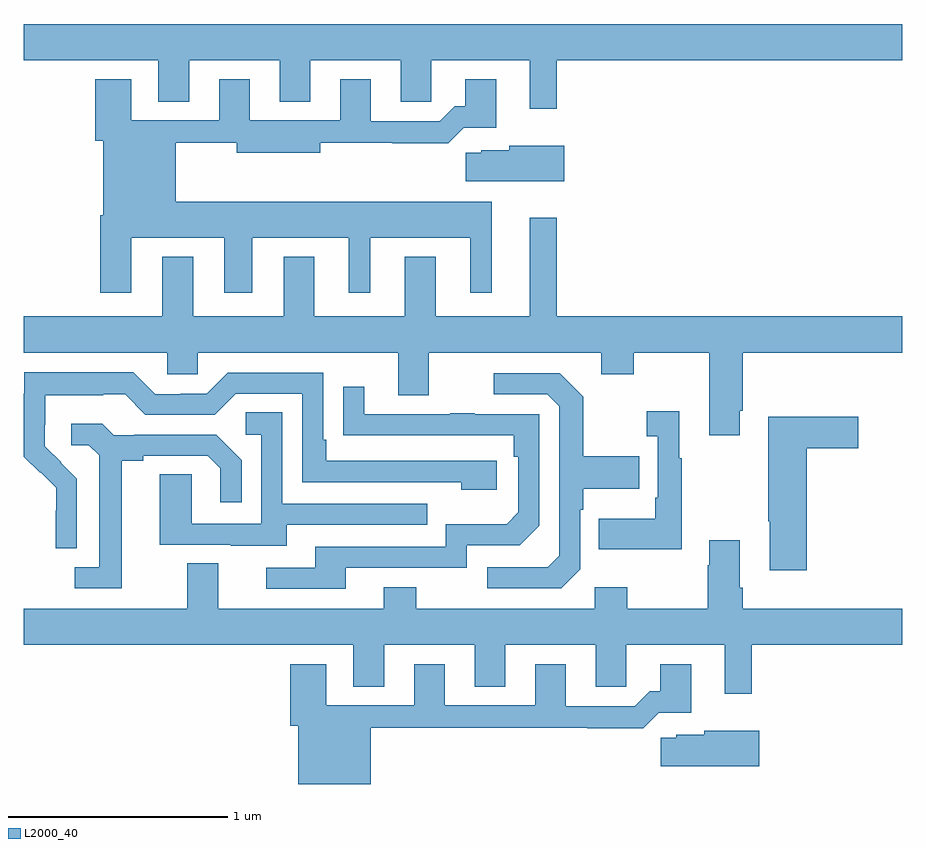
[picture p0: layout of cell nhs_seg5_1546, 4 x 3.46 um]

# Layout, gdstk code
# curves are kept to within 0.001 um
import gdstk
lib = gdstk.Library(unit=1e-6, precision=1e-09)
def P(c, l, *ps):  # polygons
    for p in ps: c.add(gdstk.Polygon(p, *l))
L2000_40 = (2000, 40)

nhs_seg5_1546 = lib.new_cell('nhs_seg5_1546')
P(nhs_seg5_1546, L2000_40, [(207.427,854.096),(209,854.096),(209,854.26),(205,854.26),(205,854.096),(205.613,854.096),(205.613,853.906),(205.753,853.906),(205.753,854.096),(206.165,854.096),(206.165,853.907),(206.305,853.907),(206.305,854.096),(206.717,854.096),(206.717,853.906),(206.856,853.906),(206.856,854.096),(207.305,854.096),(207.305,853.875),(207.427,853.875)],
  [(205.489,853.286),(205.913,853.286),(205.913,853.035),(206.041,853.035),(206.041,853.286),(206.48,853.286),(206.48,853.035),(206.578,853.035),(206.578,853.286),(207.032,853.286),(207.032,853.035),(207.13,853.035),(207.13,853.45),(205.693,853.45),(205.693,853.72),(205.97,853.72),(205.97,853.673),(206.35,853.673),(206.35,853.72),(206.677,853.72),(206.677,853.718),(206.933,853.718),(207.003,853.788),(207.151,853.788),(207.151,854.008),(207.011,854.008),(207.011,853.885),(206.962,853.885),(206.895,853.818),(206.581,853.818),(206.581,854.008),(206.441,854.008),(206.441,853.821),(206.029,853.822),(206.029,854.008),(205.889,854.008),(205.889,853.821),(205.489,853.821),(205.489,854.008),(205.325,854.008),(205.325,853.728),(205.361,853.728),(205.361,853.39),(205.349,853.39),(205.349,853.035),(205.489,853.035)],
  [(207.46,853.705),(207.21,853.705),(207.21,853.684),(207.084,853.684),(207.084,853.673),(207.012,853.673),(207.012,853.544),(207.46,853.544)],
  [(208.261,852.499),(208.274,852.499),(208.274,852.764),(209,852.764),(209,852.928),(207.427,852.928),(207.427,853.378),(207.305,853.378),(207.305,852.928),(206.875,852.928),(206.875,853.201),(206.735,853.201),(206.735,852.928),(206.323,852.928),(206.323,853.201),(206.183,853.201),(206.183,852.928),(205.771,852.928),(205.771,853.201),(205.631,853.201),(205.631,852.928),(205,852.928),(205,852.764),(205.653,852.764),(205.653,852.666),(205.791,852.666),(205.791,852.764),(206.705,852.764),(206.705,852.57),(206.845,852.57),(206.845,852.764),(207.629,852.764),(207.629,852.665),(207.777,852.665),(207.777,852.764),(208.121,852.764),(208.121,852.387),(208.261,852.387)],
  [(205.242,852.19),(205.096,852.338),(205.096,852.435),(205.098,852.435),(205.098,852.569),(205.361,852.569),(205.361,852.573),(205.461,852.573),(205.554,852.48),(205.869,852.48),(205.965,852.576),(206.268,852.576),(206.268,852.174),(206.993,852.174),(206.993,852.14),(207.154,852.14),(207.154,852.27),(206.377,852.27),(206.377,852.367),(206.364,852.367),(206.364,852.672),(205.929,852.672),(205.833,852.576),(205.715,852.576),(205.715,852.573),(205.599,852.573),(205.499,852.673),(205.002,852.673),(205.002,852.576),(205,852.576),(205,852.29),(205.074,852.216),(205.077,852.219),(205.148,852.149),(205.148,852.044),(205.145,852.044),(205.145,851.872),(205.242,851.872)],
  [(207.534,851.778),(207.534,852.047),(207.547,852.047),(207.547,852.143),(207.803,852.143),(207.803,852.291),(207.547,852.291),(207.547,852.563),(207.441,852.669),(207.141,852.669),(207.141,852.573),(207.384,852.573),(207.438,852.519),(207.438,851.838),(207.387,851.787),(207.111,851.787),(207.111,851.691),(207.447,851.691)],
  [(206.467,851.784),(207.018,851.784),(207.018,851.886),(207.258,851.886),(207.348,851.976),(207.348,852.483),(207.053,852.483),(207.053,852.488),(206.941,852.488),(206.941,852.483),(206.551,852.483),(206.551,852.607),(206.455,852.607),(206.455,852.388),(207.232,852.387),(207.232,852.29),(207.252,852.29),(207.252,852.036),(207.199,851.983),(206.922,851.983),(206.922,851.88),(206.327,851.88),(206.327,851.784),(206.103,851.784),(206.103,851.688),(206.467,851.688)],
  [(207.997,852.283),(207.985,852.283),(207.985,852.496),(207.837,852.496),(207.837,852.383),(207.888,852.383),(207.888,852.103),(207.876,852.103),(207.876,852.007),(207.619,852.007),(207.619,851.867),(207.997,851.867)],
  [(206.197,851.979),(206.837,851.979),(206.837,852.075),(206.178,852.075),(206.178,852.491),(206.01,852.491),(206.01,852.39),(206.082,852.39),(206.082,851.985),(205.764,851.985),(205.764,852.209),(205.619,852.209),(205.619,851.889),(205.943,851.889),(205.943,851.885),(206.197,851.885)],
  [(208.565,852.329),(208.801,852.329),(208.801,852.471),(208.39,852.471),(208.39,851.995),(208.397,851.995),(208.397,851.772),(208.565,851.772)],
  [(205.447,852.272),(205.543,852.272),(205.543,852.294),(205.838,852.294),(205.895,852.237),(205.895,852.081),(205.992,852.081),(205.992,852.274),(205.876,852.39),(205.504,852.39),(205.504,852.387),(205.41,852.387),(205.358,852.439),(205.215,852.439),(205.215,852.342),(205.296,852.342),(205.343,852.295),(205.343,851.787),(205.233,851.787),(205.233,851.691),(205.447,851.691)],
  [(208.315,851.432),(209,851.432),(209,851.596),(208.274,851.596),(208.274,851.692),(208.261,851.692),(208.261,851.908),(208.121,851.908),(208.121,851.795),(208.114,851.795),(208.114,851.596),(207.747,851.596),(207.747,851.695),(207.6,851.695),(207.6,851.596),(206.787,851.596),(206.787,851.695),(206.639,851.695),(206.639,851.596),(205.885,851.596),(205.885,851.804),(205.745,851.804),(205.745,851.596),(205,851.596),(205,851.432),(206.501,851.432),(206.501,851.242),(206.641,851.242),(206.641,851.432),(207.053,851.432),(207.053,851.242),(207.193,851.242),(207.193,851.432),(207.605,851.432),(207.605,851.242),(207.744,851.242),(207.744,851.432),(208.193,851.432),(208.193,851.211),(208.315,851.211)],
  [(206.581,851.056),(207.565,851.056),(207.565,851.054),(207.821,851.054),(207.891,851.124),(208.039,851.124),(208.039,851.344),(207.899,851.344),(207.899,851.221),(207.85,851.221),(207.783,851.154),(207.469,851.154),(207.469,851.344),(207.329,851.344),(207.329,851.157),(206.917,851.157),(206.917,851.344),(206.777,851.344),(206.777,851.157),(206.377,851.157),(206.377,851.344),(206.213,851.344),(206.213,851.064),(206.249,851.064),(206.249,850.799),(206.581,850.799)],
  [(208.348,851.041),(208.098,851.041),(208.098,851.023),(207.972,851.023),(207.972,851.009),(207.9,851.009),(207.9,850.88),(208.348,850.88)])

lib.write_gds('nhs_seg5_1546.gds')
